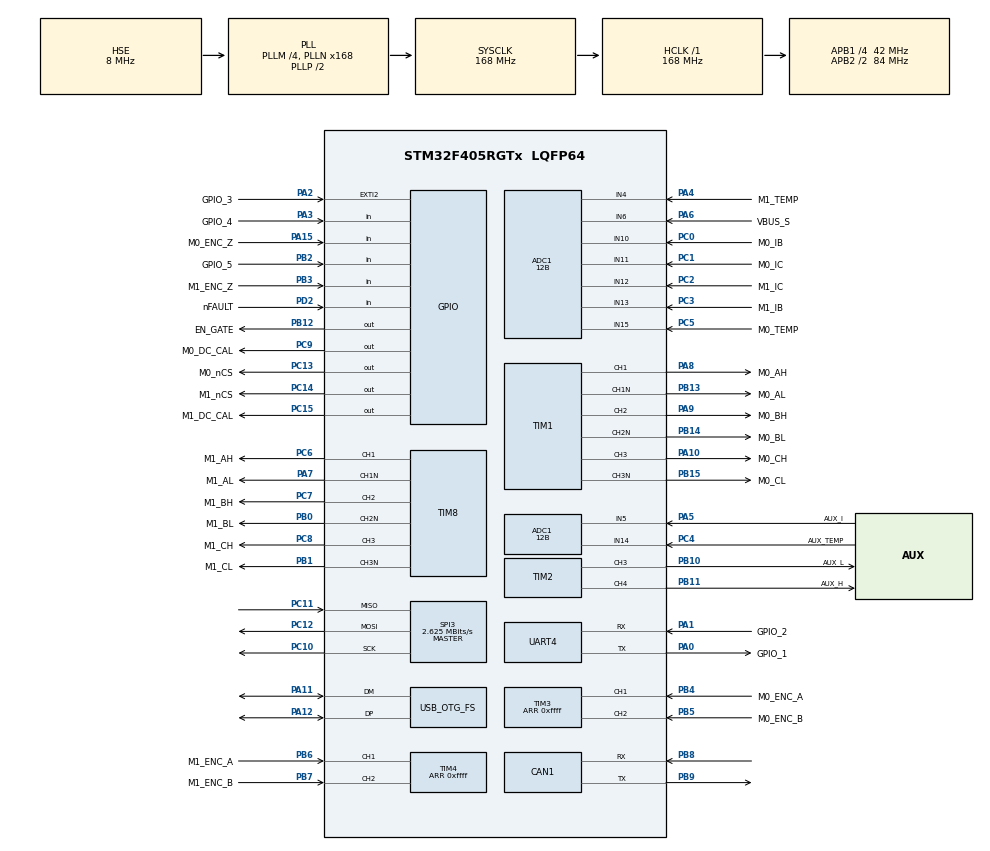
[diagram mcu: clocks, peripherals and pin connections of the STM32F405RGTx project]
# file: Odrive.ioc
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ADC1.Channel-0\#ChannelRegularConversion=ADC_CHANNEL_6
ADC1.Channel-1\#ChannelInjectedConversion=ADC_CHANNEL_6
ADC1.ClockPrescaler=ADC_CLOCK_SYNC_PCLK_DIV4
ADC1.ContinuousConvMode=DISABLE
ADC1.DMAContinuousRequests=DISABLE
ADC1.DataAlign=ADC_DATAALIGN_RIGHT
ADC1.DiscontinuousConvMode=DISABLE
ADC1.EOCSelection=ADC_EOC_SINGLE_CONV
ADC1.EnableAnalogWatchDog=false
ADC1.ExternalTrigConv=ADC_SOFTWARE_START
ADC1.ExternalTrigConvEdge=ADC_EXTERNALTRIGCONVEDGE_NONE
ADC1.ExternalTrigInjecConv=ADC_EXTERNALTRIGINJECCONV_T1_TRGO
ADC1.ExternalTrigInjecConvEdge=ADC_EXTERNALTRIGINJECCONVEDGE_RISING
ADC1.InjNumberOfConversion=1
ADC1.InjectedConvMode=None
ADC1.InjectedOffset-1\#ChannelInjectedConversion=0
ADC1.NbrOfConversion=1
ADC1.NbrOfConversionFlag=1
ADC1.Rank-0\#ChannelRegularConversion=1
ADC1.Rank-1\#ChannelInjectedConversion=1
ADC1.Resolution=ADC_RESOLUTION_12B
ADC1.SamplingTime-0\#ChannelRegularConversion=ADC_SAMPLETIME_3CYCLES
ADC1.SamplingTime-1\#ChannelInjectedConversion=ADC_SAMPLETIME_3CYCLES
ADC1.ScanConvMode=DISABLE
ADC1.master=1
ADC2.Channel-0\#ChannelRegularConversion=ADC_CHANNEL_13
ADC2.Channel-1\#ChannelInjectedConversion=ADC_CHANNEL_10
ADC2.ClockPrescaler=ADC_CLOCK_SYNC_PCLK_DIV4
ADC2.ContinuousConvMode=DISABLE
ADC2.DMAContinuousRequests=DISABLE
ADC2.DataAlign=ADC_DATAALIGN_RIGHT
ADC2.DiscontinuousConvMode=DISABLE
ADC2.EOCSelection=ADC_EOC_SINGLE_CONV
ADC2.EnableAnalogWatchDog=false
ADC2.ExternalTrigConv=ADC_EXTERNALTRIGCONV_T8_TRGO
ADC2.ExternalTrigConvEdge=ADC_EXTERNALTRIGCONVEDGE_RISING
ADC2.ExternalTrigInjecConv=ADC_EXTERNALTRIGINJECCONV_T1_TRGO
ADC2.ExternalTrigInjecConvEdge=ADC_EXTERNALTRIGINJECCONVEDGE_RISING
ADC2.InjNumberOfConversion=1
ADC2.InjectedConvMode=None
ADC2.InjectedOffset-1\#ChannelInjectedConversion=0
ADC2.NbrOfConversion=1
ADC2.NbrOfConversionFlag=1
ADC2.Rank-0\#ChannelRegularConversion=1
ADC2.Rank-1\#ChannelInjectedConversion=1
ADC2.Resolution=ADC_RESOLUTION_12B
ADC2.SamplingTime-0\#ChannelRegularConversion=ADC_SAMPLETIME_3CYCLES
ADC2.SamplingTime-1\#ChannelInjectedConversion=ADC_SAMPLETIME_3CYCLES
ADC2.ScanConvMode=DISABLE
ADC3.Channel-7\#ChannelRegularConversion=ADC_CHANNEL_12
ADC3.Channel-8\#ChannelInjectedConversion=ADC_CHANNEL_11
ADC3.ClockPrescaler=ADC_CLOCK_SYNC_PCLK_DIV4
ADC3.ContinuousConvMode=DISABLE
ADC3.DMAContinuousRequests=DISABLE
ADC3.DataAlign=ADC_DATAALIGN_RIGHT
ADC3.DiscontinuousConvMode=DISABLE
ADC3.EOCSelection=ADC_EOC_SINGLE_CONV
ADC3.EnableAnalogWatchDog=false
ADC3.ExternalTrigConv=ADC_EXTERNALTRIGCONV_T8_TRGO
ADC3.ExternalTrigConvEdge=ADC_EXTERNALTRIGCONVEDGE_RISING
ADC3.ExternalTrigInjecConv=ADC_EXTERNALTRIGINJECCONV_T1_TRGO
ADC3.ExternalTrigInjecConvEdge=ADC_EXTERNALTRIGINJECCONVEDGE_RISING
ADC3.InjNumberOfConversion=1
ADC3.InjectedConvMode=None
ADC3.InjectedOffset-8\#ChannelInjectedConversion=0
ADC3.NbrOfConversion=1
ADC3.NbrOfConversionFlag=1
ADC3.Rank-7\#ChannelRegularConversion=1
ADC3.Rank-8\#ChannelInjectedConversion=1
ADC3.Resolution=ADC_RESOLUTION_12B
ADC3.SamplingTime-7\#ChannelRegularConversion=ADC_SAMPLETIME_3CYCLES
ADC3.SamplingTime-8\#ChannelInjectedConversion=ADC_SAMPLETIME_3CYCLES
ADC3.ScanConvMode=DISABLE
CAN1.BS1=CAN_BS1_1TQ
CAN1.BS2=CAN_BS2_1TQ
CAN1.CalculateTimeBit=1142
CAN1.CalculateTimeQuantum=380.95238095238096
Dma.Request0=UART4_RX
Dma.Request1=UART4_TX
Dma.UART4_RX.0.Direction=DMA_PERIPH_TO_MEMORY
Dma.UART4_RX.0.FIFOMode=DMA_FIFOMODE_DISABLE
Dma.UART4_RX.0.Instance=DMA1_Stream2
Dma.UART4_RX.0.MemDataAlignment=DMA_MDATAALIGN_BYTE
Dma.UART4_RX.0.MemInc=DMA_MINC_ENABLE
Dma.UART4_RX.0.Mode=DMA_CIRCULAR
Dma.UART4_RX.0.PeriphDataAlignment=DMA_PDATAALIGN_BYTE
Dma.UART4_RX.0.PeriphInc=DMA_PINC_DISABLE
Dma.UART4_RX.0.Priority=DMA_PRIORITY_LOW
Dma.UART4_TX.1.Direction=DMA_MEMORY_TO_PERIPH
Dma.UART4_TX.1.FIFOMode=DMA_FIFOMODE_DISABLE
Dma.UART4_TX.1.Instance=DMA1_Stream4
Dma.UART4_TX.1.MemDataAlignment=DMA_MDATAALIGN_BYTE
Dma.UART4_TX.1.MemInc=DMA_MINC_ENABLE
Dma.UART4_TX.1.Mode=DMA_NORMAL
Dma.UART4_TX.1.PeriphDataAlignment=DMA_PDATAALIGN_BYTE
Dma.UART4_TX.1.PeriphInc=DMA_PINC_DISABLE
Dma.UART4_TX.1.Priority=DMA_PRIORITY_LOW
FREERTOS.INCLUDE_vTaskDelayUntil=1
FREERTOS.Tasks01=defaultTask,-3,256,StartDefaultTask,Default
Mcu.Family=STM32F4
Mcu.Name=STM32F405RGTx
Mcu.Package=LQFP64
Mcu.UserConstants=TIM_1_8_CLOCK_HZ,168000000;TIM_1_8_PERIOD_CLOCKS,10192;TIM_1_8_DEADTIME_CLOCKS,20;TIM_APB1_CLOCK_HZ,84000000;TIM_APB1_PERIOD_CLOCKS,4096;TIM_APB1_DEADTIME_CLOCKS,40
NVIC.ADC_IRQn=true\:5\:0\:false\:false\:true\:true\:true
NVIC.DMA1_Stream2_IRQn=true\:5\:0\:false\:false\:true\:true\:true
NVIC.DMA1_Stream4_IRQn=true\:5\:0\:false\:false\:true\:true\:false
NVIC.EXTI2_IRQn=true\:0\:0\:false\:false\:false\:false\:true
NVIC.OTG_FS_IRQn=true\:5\:0\:false\:false\:true\:true\:true
NVIC.PriorityGroup=NVIC_PRIORITYGROUP_4
NVIC.TIM8_TRG_COM_TIM14_IRQn=true\:0\:0\:false\:false\:true\:false\:false
NVIC.TimeBase=TIM8_TRG_COM_TIM14_IRQn
NVIC.TimeBaseIP=TIM14
NVIC.UART4_IRQn=true\:5\:0\:false\:false\:true\:true\:true
PA0-WKUP.GPIO_Label=GPIO_1
PA0-WKUP.GPIO_PuPd=GPIO_PULLDOWN
PA0-WKUP.Signal=SharedStack_PA0
PA0-WKUP.Stacked=true
PA1.GPIO_Label=GPIO_2
PA1.GPIO_PuPd=GPIO_NOPULL
PA1.Signal=SharedStack_PA1
PA1.Stacked=true
PA10.GPIO_Label=M0_CH
PA10.Signal=S_TIM1_CH3
PA11.Mode=Device_Only
PA11.Signal=USB_OTG_FS_DM
PA12.Mode=Device_Only
PA12.Signal=USB_OTG_FS_DP
PA13.Mode=Serial_Wire
PA13.Signal=SYS_JTMS-SWDIO
PA14.Mode=Serial_Wire
PA14.Signal=SYS_JTCK-SWCLK
PA15.GPIO_Label=M0_ENC_Z
PA15.Signal=GPIO_Input
PA2.GPIO_Label=GPIO_3
PA2.GPIO_PuPd=GPIO_PULLDOWN
PA2.Signal=GPXTI2
PA3.GPIO_Label=GPIO_4
PA3.GPIO_PuPd=GPIO_NOPULL
PA3.Signal=GPIO_Input
PA4.GPIO_Label=M1_TEMP
PA4.Signal=ADCx_IN4
PA5.GPIO_Label=AUX_I
PA5.Signal=ADCx_IN5
PA6.GPIO_Label=VBUS_S
PA6.Signal=ADCx_IN6
PA7.GPIO_Label=M1_AL
PA7.Mode=PWM Generation1 CH1 CH1N
PA7.Signal=TIM8_CH1N
PA8.GPIO_Label=M0_AH
PA8.Signal=S_TIM1_CH1
PA9.GPIO_Label=M0_BH
PA9.Signal=S_TIM1_CH2
PB0.GPIO_Label=M1_BL
PB0.Mode=PWM Generation2 CH2 CH2N
PB0.Signal=TIM8_CH2N
PB1.GPIO_Label=M1_CL
PB1.Mode=PWM Generation3 CH3 CH3N
PB1.Signal=TIM8_CH3N
PB10.GPIO_Label=AUX_L
PB10.Signal=S_TIM2_CH3
PB11.GPIO_Label=AUX_H
PB11.Signal=S_TIM2_CH4
PB12.GPIO_Label=EN_GATE
PB12.Signal=GPIO_Output
PB13.GPIO_Label=M0_AL
PB13.Mode=PWM Generation1 CH1 CH1N
PB13.Signal=TIM1_CH1N
PB14.GPIO_Label=M0_BL
PB14.Mode=PWM Generation2 CH2 CH2N
PB14.Signal=TIM1_CH2N
PB15.GPIO_Label=M0_CL
PB15.Mode=PWM Generation3 CH3 CH3N
PB15.Signal=TIM1_CH3N
PB2.GPIO_Label=GPIO_5
PB2.Signal=GPIO_Input
PB3.GPIO_Label=M1_ENC_Z
PB3.Signal=GPIO_Input
PB4.GPIO_Label=M0_ENC_A
PB4.Signal=S_TIM3_CH1
PB5.GPIO_Label=M0_ENC_B
PB5.Signal=S_TIM3_CH2
PB6.GPIO_Label=M1_ENC_A
PB6.Signal=S_TIM4_CH1
PB7.GPIO_Label=M1_ENC_B
PB7.Signal=S_TIM4_CH2
PB8.Mode=Master
PB8.Signal=CAN1_RX
PB9.Mode=Master
PB9.Signal=CAN1_TX
PC0.GPIO_Label=M0_IB
PC0.Signal=ADCx_IN10
PC1.GPIO_Label=M0_IC
PC1.Signal=ADCx_IN11
PC10.Mode=Full_Duplex_Master
PC10.Signal=SPI3_SCK
PC11.Mode=Full_Duplex_Master
PC11.Signal=SPI3_MISO
PC12.Mode=Full_Duplex_Master
PC12.Signal=SPI3_MOSI
PC13-ANTI_TAMP.GPIO_Label=M0_nCS
PC13-ANTI_TAMP.PinState=GPIO_PIN_SET
PC13-ANTI_TAMP.Signal=GPIO_Output
PC14-OSC32_IN.GPIO_Label=M1_nCS
PC14-OSC32_IN.PinState=GPIO_PIN_SET
PC14-OSC32_IN.Signal=GPIO_Output
PC15-OSC32_OUT.GPIO_Label=M1_DC_CAL
PC15-OSC32_OUT.Signal=GPIO_Output
PC2.GPIO_Label=M1_IC
PC2.Signal=ADCx_IN12
PC3.GPIO_Label=M1_IB
PC3.Signal=ADCx_IN13
PC4.GPIO_Label=AUX_TEMP
PC4.Signal=ADCx_IN14
PC5.GPIO_Label=M0_TEMP
PC5.Signal=ADCx_IN15
PC6.GPIO_Label=M1_AH
PC6.Signal=S_TIM8_CH1
PC7.GPIO_Label=M1_BH
PC7.Signal=S_TIM8_CH2
PC8.GPIO_Label=M1_CH
PC8.Signal=S_TIM8_CH3
PC9.GPIO_Label=M0_DC_CAL
PC9.Signal=GPIO_Output
PD2.GPIO_Label=nFAULT
PD2.GPIO_PuPd=GPIO_PULLUP
PD2.Signal=GPIO_Input
PH0-OSC_IN.Mode=HSE-External-Oscillator
PH0-OSC_IN.Signal=RCC_OSC_IN
PH1-OSC_OUT.Mode=HSE-External-Oscillator
PH1-OSC_OUT.Signal=RCC_OSC_OUT
ProjectManager.HeapSize=0x3C00
ProjectManager.StackSize=0x800
ProjectManager.TargetToolchain=SW4STM32
RCC.48MHZClocksFreq_Value=48000000
RCC.AHBFreq_Value=168000000
RCC.APB1CLKDivider=RCC_HCLK_DIV4
RCC.APB1Freq_Value=42000000
RCC.APB1TimFreq_Value=84000000
RCC.APB2CLKDivider=RCC_HCLK_DIV2
RCC.APB2Freq_Value=84000000
RCC.APB2TimCLKDivider=1
RCC.APB2TimFreq_Value=84000000
RCC.CortexFreq_Value=168000000
RCC.HCLKFreq_Value=168000000
RCC.HSE_VALUE=8000000
RCC.HSI_VALUE=16000000
RCC.LSE_VALUE=32768
RCC.PLLM=4
RCC.PLLN=168
RCC.PLLQ=7
RCC.SYSCLKFreq_VALUE=168000000
RCC.SYSCLKSource=RCC_SYSCLKSOURCE_PLLCLK
RCC.VCOOutputFreq_Value=336000000
SH.ADCx_IN10.0=ADC1_IN10,IN10
SH.ADCx_IN10.1=ADC2_IN10,IN10
SH.ADCx_IN10.2=ADC3_IN10,IN10
SH.ADCx_IN11.0=ADC1_IN11,IN11
SH.ADCx_IN11.1=ADC2_IN11,IN11
SH.ADCx_IN11.2=ADC3_IN11,IN11
SH.ADCx_IN12.0=ADC1_IN12,IN12
SH.ADCx_IN12.1=ADC2_IN12,IN12
SH.ADCx_IN12.2=ADC3_IN12,IN12
SH.ADCx_IN13.0=ADC1_IN13,IN13
SH.ADCx_IN13.1=ADC2_IN13,IN13
SH.ADCx_IN13.2=ADC3_IN13,IN13
SH.ADCx_IN14.0=ADC1_IN14,IN14
SH.ADCx_IN14.1=ADC2_IN14,IN14
SH.ADCx_IN15.0=ADC1_IN15,IN15
SH.ADCx_IN15.1=ADC2_IN15,IN15
SH.ADCx_IN4.0=ADC1_IN4,IN4
SH.ADCx_IN4.1=ADC2_IN4,IN4
SH.ADCx_IN5.0=ADC1_IN5,IN5
SH.ADCx_IN5.1=ADC2_IN5,IN5
SH.ADCx_IN6.0=ADC1_IN6,IN6
SH.ADCx_IN6.1=ADC2_IN6,IN6
SH.S_TIM1_CH1.0=TIM1_CH1,PWM Generation1 CH1 CH1N
SH.S_TIM1_CH2.0=TIM1_CH2,PWM Generation2 CH2 CH2N
SH.S_TIM1_CH3.0=TIM1_CH3,PWM Generation3 CH3 CH3N
SH.S_TIM2_CH3.0=TIM2_CH3,PWM Generation3 CH3
SH.S_TIM2_CH4.0=TIM2_CH4,PWM Generation4 CH4
SH.S_TIM3_CH1.0=TIM3_CH1,Encoder_Interface
SH.S_TIM3_CH2.0=TIM3_CH2,Encoder_Interface
SH.S_TIM4_CH1.0=TIM4_CH1,Encoder_Interface
SH.S_TIM4_CH2.0=TIM4_CH2,Encoder_Interface
SH.S_TIM8_CH1.0=TIM8_CH1,PWM Generation1 CH1 CH1N
SH.S_TIM8_CH2.0=TIM8_CH2,PWM Generation2 CH2 CH2N
SH.S_TIM8_CH3.0=TIM8_CH3,PWM Generation3 CH3 CH3N
SH.SharedStack_PA0.0=GPIO_EXTI0+0
SH.SharedStack_PA0.1=UART4_TX,Asynchronous
SH.SharedStack_PA1.0=GPIO_Input+0
SH.SharedStack_PA1.1=UART4_RX,Asynchronous
SPI3.BaudRatePrescaler=SPI_BAUDRATEPRESCALER_16
SPI3.CLKPhase=SPI_PHASE_2EDGE
SPI3.CalculateBaudRate=2.625 MBits/s
SPI3.DataSize=SPI_DATASIZE_16BIT
SPI3.Direction=SPI_DIRECTION_2LINES
SPI3.FirstBit=SPI_FIRSTBIT_MSB
SPI3.Mode=SPI_MODE_MASTER
SPI3.VirtualType=VM_MASTER
TIM1.Channel-Output\ Compare4\ No\ Output=TIM_CHANNEL_4
TIM1.Channel-PWM\ Generation1\ CH1\ CH1N=TIM_CHANNEL_1
TIM1.Channel-PWM\ Generation2\ CH2\ CH2N=TIM_CHANNEL_2
TIM1.Channel-PWM\ Generation3\ CH3\ CH3N=TIM_CHANNEL_3
TIM1.CounterMode=TIM_COUNTERMODE_CENTERALIGNED3
TIM1.DeadTime=TIM_1_8_DEADTIME_CLOCKS
TIM1.OCMode_PWM-PWM\ Generation1\ CH1\ CH1N=TIM_OCMODE_PWM2
TIM1.OCMode_PWM-PWM\ Generation2\ CH2\ CH2N=TIM_OCMODE_PWM2
TIM1.OCMode_PWM-PWM\ Generation3\ CH3\ CH3N=TIM_OCMODE_PWM2
TIM1.OCNPolarity_1=TIM_OCNPOLARITY_HIGH
TIM1.OCNPolarity_2=TIM_OCNPOLARITY_HIGH
TIM1.OCNPolarity_3=TIM_OCNPOLARITY_HIGH
TIM1.OffStateIDLEMode=TIM_OSSI_ENABLE
TIM1.OffStateRunMode=TIM_OSSR_ENABLE
TIM1.Period=TIM_1_8_PERIOD_CLOCKS
TIM1.TIM_MasterOutputTrigger=TIM_TRGO_UPDATE
TIM2.Channel-PWM\ Generation3\ CH3=TIM_CHANNEL_3
TIM2.Channel-PWM\ Generation4\ CH4=TIM_CHANNEL_4
TIM2.CounterMode=TIM_COUNTERMODE_CENTERALIGNED3
TIM2.OCMode_PWM-PWM\ Generation3\ CH3=TIM_OCMODE_PWM2
TIM2.OCMode_PWM-PWM\ Generation4\ CH4=TIM_OCMODE_PWM2
TIM2.OCPolarity_3=TIM_OCPOLARITY_LOW
TIM2.Period=TIM_APB1_PERIOD_CLOCKS
TIM2.Pulse-PWM\ Generation4\ CH4=TIM_APB1_PERIOD_CLOCKS+1
TIM3.EncoderMode=TIM_ENCODERMODE_TI12
TIM3.IC1Filter=4
TIM3.IC1Polarity=TIM_ICPOLARITY_RISING
TIM3.IC2Filter=4
TIM3.IC2Polarity=TIM_ICPOLARITY_RISING
TIM3.Period=0xffff
TIM4.EncoderMode=TIM_ENCODERMODE_TI12
TIM4.IC1Filter=4
TIM4.IC1Polarity=TIM_ICPOLARITY_RISING
TIM4.IC2Filter=4
TIM4.IC2Polarity=TIM_ICPOLARITY_RISING
TIM4.Period=0xffff
TIM8.Channel-Output\ Compare4\ No\ Output=TIM_CHANNEL_4
TIM8.Channel-PWM\ Generation1\ CH1\ CH1N=TIM_CHANNEL_1
TIM8.Channel-PWM\ Generation2\ CH2\ CH2N=TIM_CHANNEL_2
TIM8.Channel-PWM\ Generation3\ CH3\ CH3N=TIM_CHANNEL_3
TIM8.CounterMode=TIM_COUNTERMODE_CENTERALIGNED3
TIM8.DeadTime=TIM_1_8_DEADTIME_CLOCKS
TIM8.OCMode_PWM-PWM\ Generation1\ CH1\ CH1N=TIM_OCMODE_PWM2
TIM8.OCMode_PWM-PWM\ Generation2\ CH2\ CH2N=TIM_OCMODE_PWM2
TIM8.OCMode_PWM-PWM\ Generation3\ CH3\ CH3N=TIM_OCMODE_PWM2
TIM8.OffStateIDLEMode=TIM_OSSI_ENABLE
TIM8.OffStateRunMode=TIM_OSSR_ENABLE
TIM8.Period=TIM_1_8_PERIOD_CLOCKS
TIM8.TIM_MasterOutputTrigger=TIM_TRGO_UPDATE
UART4.VirtualMode=Asynchronous
USB_DEVICE.APP_RX_DATA_SIZE-CDC_FS=64
USB_DEVICE.APP_TX_DATA_SIZE-CDC_FS=64
USB_DEVICE.CLASS_NAME_FS=CDC
USB_DEVICE.MANUFACTURER_STRING-CDC_FS=ODrive Robotics
USB_DEVICE.PID_CDC_FS=0x0D33
USB_DEVICE.PRODUCT_STRING_CDC_FS=ODrive v3.3
USB_DEVICE.SERIALNUMBER_STRING_CDC_FS=000000000001
USB_DEVICE.VID-CDC_FS=0x1209
USB_DEVICE.VirtualMode-CDC_FS=Cdc
USB_DEVICE.VirtualModeFS=Cdc_FS
USB_OTG_FS.VirtualMode=Device_Only
USB_OTG_FS.vbus_sensing_enable=DISABLE
VP_FREERTOS_VS_ENABLE.Mode=Enabled
VP_SYS_VS_tim14.Mode=TIM14
VP_TIM1_VS_ClockSourceINT.Mode=Internal
VP_TIM1_VS_no_output4.Mode=Output Compare4 No Output
VP_USB_DEVICE_VS_USB_DEVICE_CDC_FS.Mode=CDC_FS
board=Odrive

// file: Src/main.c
/**
  ******************************************************************************
  * File Name          : main.c
  * Description        : Main program body
  ******************************************************************************
  * This notice applies to any and all portions of this file
  * that are not between comment pairs USER CODE BEGIN and
  * USER CODE END. Other portions of this file, whether
  * inserted by the user or by software development tools
  * are owned by their respective copyright owners.
  *
  * Copyright (c) 2017 STMicroelectronics International N.V.
  * All rights reserved.
  *
  * Redistribution and use in source and binary forms, with or without
  * modification, are permitted, provided that the following conditions are met:
  *
  * 1. Redistribution of source code must retain the above copyright notice,
  *    this list of conditions and the following disclaimer.
  * 2. Redistributions in binary form must reproduce the above copyright notice,
  *    this list of conditions and the following disclaimer in the documentation
  *    and/or other materials provided with the distribution.
  * 3. Neither the name of STMicroelectronics nor the names of other
  *    contributors to this software may be used to endorse or promote products
  *    derived from this software without specific written permission.
  * 4. This software, including modifications and/or derivative works of this
  *    software, must execute solely and exclusively on microcontroller or
  *    microprocessor devices manufactured by or for STMicroelectronics.
  * 5. Redistribution and use of this software other than as permitted under
  *    this license is void and will automatically terminate your rights under
  *    this license.
  *
  * THIS SOFTWARE IS PROVIDED BY STMICROELECTRONICS AND CONTRIBUTORS "AS IS"
  * AND ANY EXPRESS, IMPLIED OR STATUTORY WARRANTIES, INCLUDING, BUT NOT
  * LIMITED TO, THE IMPLIED WARRANTIES OF MERCHANTABILITY, FITNESS FOR A
  * PARTICULAR PURPOSE AND NON-INFRINGEMENT OF THIRD PARTY INTELLECTUAL PROPERTY
  * RIGHTS ARE DISCLAIMED TO THE FULLEST EXTENT PERMITTED BY LAW. IN NO EVENT
  * SHALL STMICROELECTRONICS OR CONTRIBUTORS BE LIABLE FOR ANY DIRECT, INDIRECT,
  * INCIDENTAL, SPECIAL, EXEMPLARY, OR CONSEQUENTIAL DAMAGES (INCLUDING, BUT NOT
  * LIMITED TO, PROCUREMENT OF SUBSTITUTE GOODS OR SERVICES; LOSS OF USE, DATA,
  * OR PROFITS; OR BUSINESS INTERRUPTION) HOWEVER CAUSED AND ON ANY THEORY OF
  * LIABILITY, WHETHER IN CONTRACT, STRICT LIABILITY, OR TORT (INCLUDING
  * NEGLIGENCE OR OTHERWISE) ARISING IN ANY WAY OUT OF THE USE OF THIS SOFTWARE,
  * EVEN IF ADVISED OF THE POSSIBILITY OF SUCH DAMAGE.
  *
  ******************************************************************************
  */
#include "main.h"
#include "stm32f4xx_hal.h"
#include "cmsis_os.h"
#include "adc.h"
#include "can.h"
#include "dma.h"
#include "spi.h"
#include "tim.h"
#include "usart.h"
#include "usb_device.h"
#include "gpio.h"

/* USER CODE BEGIN PV */
/* Private variables ---------------------------------------------------------*/

/* USER CODE END PV */

void SystemClock_Config(void);
void MX_FREERTOS_Init(void);

/* USER CODE BEGIN PFP */
/* Private function prototypes -----------------------------------------------*/

/* USER CODE END PFP */

int main(void)
{

  /* MCU Configuration----------------------------------------------------------*/

  /* Reset of all peripherals, Initializes the Flash interface and the Systick. */
  HAL_Init();

  /* Configure the system clock */
  SystemClock_Config();

  /* Initialize all configured peripherals */
  MX_GPIO_Init();
  MX_DMA_Init();
  MX_ADC1_Init();
  MX_ADC2_Init();
  MX_CAN1_Init();
  MX_TIM1_Init();
  MX_TIM8_Init();
  MX_TIM3_Init();
  MX_TIM4_Init();
  MX_SPI3_Init();
  MX_ADC3_Init();
  MX_TIM2_Init();
  MX_UART4_Init();

  /* USER CODE BEGIN 2 */

  //Required to use OC4 for ADC triggering.
  OC4_PWM_Override(&htim1);
  OC4_PWM_Override(&htim8);

  /* USER CODE END 2 */

  /* Call init function for freertos objects (in freertos.c) */
  MX_FREERTOS_Init();

  /* Start scheduler */
  osKernelStart();

  /* We should never get here as control is now taken by the scheduler */

  /* Infinite loop */
  while (1)
  {

  }

}

/** System Clock Configuration
*/
void SystemClock_Config(void)
{

  RCC_OscInitTypeDef RCC_OscInitStruct;
  RCC_ClkInitTypeDef RCC_ClkInitStruct;

    /**Configure the main internal regulator output voltage
    */
  __HAL_RCC_PWR_CLK_ENABLE();

  __HAL_PWR_VOLTAGESCALING_CONFIG(PWR_REGULATOR_VOLTAGE_SCALE1);

    /**Initializes the CPU, AHB and APB busses clocks
    */
  RCC_OscInitStruct.OscillatorType = RCC_OSCILLATORTYPE_HSE;
  RCC_OscInitStruct.HSEState = RCC_HSE_ON;
  RCC_OscInitStruct.PLL.PLLState = RCC_PLL_ON;
  RCC_OscInitStruct.PLL.PLLSource = RCC_PLLSOURCE_HSE;
  RCC_OscInitStruct.PLL.PLLM = 4;
  RCC_OscInitStruct.PLL.PLLN = 168;
  RCC_OscInitStruct.PLL.PLLP = RCC_PLLP_DIV2;
  RCC_OscInitStruct.PLL.PLLQ = 7;
  if (HAL_RCC_OscConfig(&RCC_OscInitStruct) != HAL_OK)
  {
    _Error_Handler(__FILE__, __LINE__);
  }

    /**Initializes the CPU, AHB and APB busses clocks
    */
  RCC_ClkInitStruct.ClockType = RCC_CLOCKTYPE_HCLK|RCC_CLOCKTYPE_SYSCLK
                              |RCC_CLOCKTYPE_PCLK1|RCC_CLOCKTYPE_PCLK2;
  RCC_ClkInitStruct.SYSCLKSource = RCC_SYSCLKSOURCE_PLLCLK;
  RCC_ClkInitStruct.AHBCLKDivider = RCC_SYSCLK_DIV1;
  RCC_ClkInitStruct.APB1CLKDivider = RCC_HCLK_DIV4;
  RCC_ClkInitStruct.APB2CLKDivider = RCC_HCLK_DIV2;

  if (HAL_RCC_ClockConfig(&RCC_ClkInitStruct, FLASH_LATENCY_5) != HAL_OK)
  {
    _Error_Handler(__FILE__, __LINE__);
  }

    /**Configure the Systick interrupt time
    */
  HAL_SYSTICK_Config(HAL_RCC_GetHCLKFreq()/1000);

    /**Configure the Systick
    */
  HAL_SYSTICK_CLKSourceConfig(SYSTICK_CLKSOURCE_HCLK);

  /* SysTick_IRQn interrupt configuration */
  HAL_NVIC_SetPriority(SysTick_IRQn, 15, 0);
}

void HAL_TIM_PeriodElapsedCallback(TIM_HandleTypeDef *htim)
{
  if (htim->Instance == TIM14) {
    HAL_IncTick();
  }
}

void _Error_Handler(char * file, int line)
{
  while(1)
  {
  }
}

/************************ (C) COPYRIGHT STMicroelectronics *****END OF FILE****/

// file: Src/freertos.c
/**
  ******************************************************************************
  * File Name          : freertos.c
  * Description        : Code for freertos applications
  ******************************************************************************
  * This notice applies to any and all portions of this file
  * that are not between comment pairs USER CODE BEGIN and
  * USER CODE END. Other portions of this file, whether
  * inserted by the user or by software development tools
  * are owned by their respective copyright owners.
  *
  * Copyright (c) 2017 STMicroelectronics International N.V.
  * All rights reserved.
  *
  * Redistribution and use in source and binary forms, with or without
  * modification, are permitted, provided that the following conditions are met:
  *
  * 1. Redistribution of source code must retain the above copyright notice,
  *    this list of conditions and the following disclaimer.
  * 2. Redistributions in binary form must reproduce the above copyright notice,
  *    this list of conditions and the following disclaimer in the documentation
  *    and/or other materials provided with the distribution.
  * 3. Neither the name of STMicroelectronics nor the names of other
  *    contributors to this software may be used to endorse or promote products
  *    derived from this software without specific written permission.
  * 4. This software, including modifications and/or derivative works of this
  *    software, must execute solely and exclusively on microcontroller or
  *    microprocessor devices manufactured by or for STMicroelectronics.
  * 5. Redistribution and use of this software other than as permitted under
  *    this license is void and will automatically terminate your rights under
  *    this license.
  *
  * THIS SOFTWARE IS PROVIDED BY STMICROELECTRONICS AND CONTRIBUTORS "AS IS"
  * AND ANY EXPRESS, IMPLIED OR STATUTORY WARRANTIES, INCLUDING, BUT NOT
  * LIMITED TO, THE IMPLIED WARRANTIES OF MERCHANTABILITY, FITNESS FOR A
  * PARTICULAR PURPOSE AND NON-INFRINGEMENT OF THIRD PARTY INTELLECTUAL PROPERTY
  * RIGHTS ARE DISCLAIMED TO THE FULLEST EXTENT PERMITTED BY LAW. IN NO EVENT
  * SHALL STMICROELECTRONICS OR CONTRIBUTORS BE LIABLE FOR ANY DIRECT, INDIRECT,
  * INCIDENTAL, SPECIAL, EXEMPLARY, OR CONSEQUENTIAL DAMAGES (INCLUDING, BUT NOT
  * LIMITED TO, PROCUREMENT OF SUBSTITUTE GOODS OR SERVICES; LOSS OF USE, DATA,
  * OR PROFITS; OR BUSINESS INTERRUPTION) HOWEVER CAUSED AND ON ANY THEORY OF
  * LIABILITY, WHETHER IN CONTRACT, STRICT LIABILITY, OR TORT (INCLUDING
  * NEGLIGENCE OR OTHERWISE) ARISING IN ANY WAY OUT OF THE USE OF THIS SOFTWARE,
  * EVEN IF ADVISED OF THE POSSIBILITY OF SUCH DAMAGE.
  *
  ******************************************************************************
  */

#include "FreeRTOS.h"
#include "task.h"
#include "cmsis_os.h"

/* USER CODE BEGIN Includes */
#include "freertos_vars.h"
#include "low_level.h"
#include "axis_c_interface.h"
#include "commands.h"
/* USER CODE END Includes */

osThreadId defaultTaskHandle;

void StartDefaultTask(void const * argument);

extern void MX_USB_DEVICE_Init(void);
void MX_FREERTOS_Init(void); /* (MISRA C 2004 rule 8.1) */

/* Hook prototypes */

/* Init FreeRTOS */

void MX_FREERTOS_Init(void) {

  /* USER CODE BEGIN RTOS_SEMAPHORES */
  // Init usb irq binary semaphore, and start with no tolkens by removing the starting one.
  osSemaphoreDef(sem_usb_irq);
  sem_usb_irq = osSemaphoreCreate(osSemaphore(sem_usb_irq), 1);
  osSemaphoreWait(sem_usb_irq, 0);
  /* USER CODE END RTOS_SEMAPHORES */

  /* Create the thread(s) */
  /* definition and creation of defaultTask */
  osThreadDef(defaultTask, StartDefaultTask, osPriorityIdle, 0, 256);
  defaultTaskHandle = osThreadCreate(osThread(defaultTask), NULL);

}

/* StartDefaultTask function */
void StartDefaultTask(void const * argument)
{
  /* init code for USB_DEVICE */
  MX_USB_DEVICE_Init();

  /* USER CODE BEGIN StartDefaultTask */

  // Init communications
  init_communication();

  // Init motor control
  init_motor_control();

  // Start motor threads
  osThreadDef(task_motor_0, axis_thread_entry,   osPriorityHigh+1, 0, 512);
  osThreadDef(task_motor_1, axis_thread_entry,   osPriorityHigh,   0, 512);
  thread_motor_0 = osThreadCreate(osThread(task_motor_0), &motors[0]);
  thread_motor_1 = osThreadCreate(osThread(task_motor_1), &motors[1]);

  // Start USB command handling thread
  osThreadDef(task_cmd_parse, cmd_parse_thread, osPriorityNormal, 0, 512);
  thread_cmd_parse = osThreadCreate(osThread(task_cmd_parse), NULL);

  //If we get to here, then the default task is done.
  vTaskDelete(defaultTaskHandle);

  /* USER CODE END StartDefaultTask */
}

/************************ (C) COPYRIGHT STMicroelectronics *****END OF FILE****/
